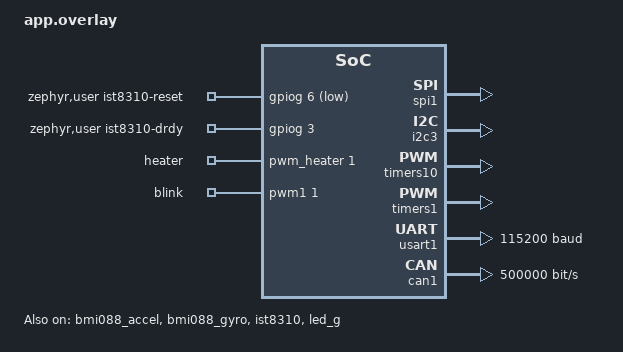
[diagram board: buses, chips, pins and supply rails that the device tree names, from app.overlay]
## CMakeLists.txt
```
cmake_minimum_required(VERSION 3.20.0)

# Add this repository root as a custom board/devicetree root.
list(APPEND BOARD_ROOT ${CMAKE_CURRENT_SOURCE_DIR})
list(APPEND DTS_ROOT ${CMAKE_CURRENT_SOURCE_DIR})

find_package(Zephyr REQUIRED HINTS $ENV{ZEPHYR_BASE})
project(RM_C_Template)

set(APP_SOURCES
    src/main.c
    src/drivers/imu/imu_board_init.c
    src/drivers/imu/imu_9axis.c
    src/board_package/unit_tests/uart_test.c
    src/board_package/unit_tests/pwm_led_test.c
    src/board_package/unit_tests/can_loopback_test.c
    src/board_package/unit_tests/bmi088_test.c
    src/board_package/unit_tests/ist8310_test.c
    src/board_package/unit_tests/imu_temperature_test.c
    src/board_package/unit_tests/imu_justfloat_test.c
)

target_sources(app PRIVATE ${APP_SOURCES})

target_include_directories(app PRIVATE include)

target_compile_options(app PRIVATE
    -Wall
    -Wextra
)

if(CONFIG_DEBUG)
    target_compile_definitions(app PRIVATE DEBUG_MODE=1)
endif()
```

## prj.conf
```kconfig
# ============================================================================
# Zephyr功能配置
# ============================================================================

# 基础系统配置
CONFIG_CONSOLE=y
CONFIG_SYS_CLOCK_TICKS_PER_SEC=1000
CONFIG_MAIN_STACK_SIZE=2048
CONFIG_IDLE_STACK_SIZE=512

# 驱动配置
CONFIG_GPIO=y
CONFIG_I2C=y
CONFIG_SPI=y
CONFIG_PWM=y
CONFIG_CAN=y
CONFIG_SERIAL=y

# 控制台：SEGGER RTT（RTT 作为主 console，UART 驱动仍正常初始化供应用使用）
CONFIG_USE_SEGGER_RTT=y
CONFIG_RTT_CONSOLE=y
CONFIG_UART_INTERRUPT_DRIVEN=y

# 调试配置
CONFIG_ASSERT=y
CONFIG_STACK_SENTINEL=y
CONFIG_THREAD_MONITOR=y
CONFIG_THREAD_NAME=y

# ============================================================================
# 自定义功能配置
# ============================================================================

# 传感器子系统 + BMI088(bmi08x) + IST8310
CONFIG_SENSOR=y
CONFIG_SENSOR_ASYNC_API=y
CONFIG_BMI08X=y
CONFIG_BMI08X_ACCEL_TRIGGER_NONE=y
CONFIG_BMI08X_GYRO_TRIGGER_NONE=y
CONFIG_IST8310=y

# 日志（通过 RTT 回读传感器数据）
CONFIG_LOG=y
CONFIG_LOG_BACKEND_RTT=y
CONFIG_LOG_MODE_DEFERRED=y

# 浮点打印（sensor_value_to_double → %f）
CONFIG_CBPRINTF_FP_SUPPORT=y
CONFIG_FPU=y
```

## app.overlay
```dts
/*
 * Copyright (c) 2026 RoboMaster C-Type Zephyr Adaptation
 *
 * SPDX-License-Identifier: Apache-2.0
 *
 * 项目级 overlay：在板级 dts 节点默认 disabled 的基础上打开本项目实际用到的
 * 板载外设，并暴露应用层需要直接操作的 GPIO / PWM。
 */

#include <zephyr/dt-bindings/gpio/gpio.h>

/ {
	/*
	 * 应用层自管理的 GPIO / PWM：Zephyr 上游 isentek,ist8310 binding 不包含
	 * RSTN（硬复位）和 DRDY 管脚，BMI088 的恒温加热也需要独立 PWM 通道。
	 * 测试用 LED (led_g) 通过 alias 访问；闪烁 PWM 额外指向 PWM1 CH1，
	 * 采样点由应用直接写 period/pulse。
	 */
	zephyr,user {
		ist8310-reset-gpios = <&gpiog 6 GPIO_ACTIVE_LOW>;
		ist8310-drdy-gpios  = <&gpiog 3 GPIO_ACTIVE_HIGH>;
		pwms = <&pwm_heater 1 5000000 PWM_POLARITY_NORMAL>,
		       <&pwm1 1 1000000000 PWM_POLARITY_NORMAL>;
		pwm-names = "heater", "blink";
	};
};

/* ---------------- IMU ---------------- */
&spi1 {
	status = "okay";
};

&bmi088_accel {
	status = "okay";
};

&bmi088_gyro {
	status = "okay";
};

&i2c3 {
	status = "okay";
};

&ist8310 {
	status = "okay";
};

/* IMU 恒温加热 TIM10_CH1 => PF6，tick = 1 MHz, PWM 周期 5 ms (200 Hz) */
&timers10 {
	status = "okay";
	st,prescaler = <167>;

	pwm_heater: pwm {
		status = "okay";
	};
};

/* ---------------- 测试用外设 ---------------- */
/* LED_G: 测试线程用软件翻转（PH11 为纯 GPIO，不接 timer 通道） */
&led_g {
	status = "okay";
};

/* PWM1 (TIM1_CH1 @ PE9) 作为闪烁频率源，tick = 20 kHz → 最大 period ≈ 3.27 s */
&timers1 {
	status = "okay";
	st,prescaler = <8399>;

	pwm1: pwm {
		status = "okay";
	};
};

/* USART1 (丝印 UART2, PA9/PB7) 作为 justfloat 数据输出端口 */
&usart1 {
	status = "okay";
	current-speed = <115200>;
};

/* CAN1 回环测试：bitrate 500 kbit/s，采样点 87.5% */
&can1 {
	status = "okay";
	bitrate = <500000>;
	sample-point = <875>;
};
```

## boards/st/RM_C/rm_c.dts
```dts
/*
 * Copyright (c) 2026 RoboMaster C-Type Zephyr Adaptation
 *
 * SPDX-License-Identifier: Apache-2.0
 */

/dts-v1/;
#include <st/f4/stm32f407Xg.dtsi>
#include <st/f4/stm32f407i(e-g)hx-pinctrl.dtsi>
#include <zephyr/dt-bindings/input/input-event-codes.h>

/ {
	model = "RoboMaster Development Board Type C";
	compatible = "st,robomaster-c";

	chosen {
		/*
		 * 控制台与 shell 均走 SEGGER RTT (CONFIG_RTT_CONSOLE / CONFIG_SHELL_BACKEND_RTT)。
		 * RTT 不是 DT 节点，通过 Kconfig 选择即可，因此 chosen 中不再指向 usart1，
		 * usart1 (丝印 UART2, PA9/PB7) 被释放给应用层自由使用。
		 */
		zephyr,sram = &sram0;
		zephyr,flash = &flash0;
		zephyr,dtcm = &ccm0;
	};

	/* 3 路 RGB LED，共阳极 + N-MOSFET 拉地，高电平点亮 */
	leds: leds {
		compatible = "gpio-leds";

		led_r: led_r {
			gpios = <&gpioh 12 GPIO_ACTIVE_HIGH>;
			label = "LED_R";
			status = "disabled";
		};

		led_g: led_g {
			gpios = <&gpioh 11 GPIO_ACTIVE_HIGH>;
			label = "LED_G";
			status = "okay";
		};

		led_b: led_b {
			gpios = <&gpioh 10 GPIO_ACTIVE_HIGH>;
			label = "LED_B";
			status = "disabled";
		};
	};

	/* 板载用户按键，按下为低 */
	keys: gpio_keys {
		compatible = "gpio-keys";
		status = "disabled";

		user_button: button {
			label = "KEY";
			/* 板载已有外部偏置网络（VCC_BAT 分压 + 1K 下拉），
			 * 不使能 MCU 内部上拉，避免与外部电阻冲突造成电平漂移。
			 */
			gpios = <&gpioa 0 GPIO_ACTIVE_LOW>;
			zephyr,code = <INPUT_KEY_0>;
		};
	};

	aliases {
		led0 = &led_r;
		led1 = &led_g;
		led2 = &led_b;
		sw0 = &user_button;
		uart2 = &usart1;
		uart1 = &usart6;
	};
};

/* ------------------------- 时钟系统 ------------------------- */
/* HSE = 12 MHz 外部晶振, 目标 SYSCLK = 168 MHz
 * PLL: VCO_in = 12/12 = 1 MHz, VCO_out = 1*336 = 336 MHz
 *      SYSCLK = 336/2 = 168 MHz, USB/SDIO = 336/7 ≈ 48 MHz
 */
&clk_hse {
	clock-frequency = <DT_FREQ_M(12)>;
	status = "okay";
};

&pll {
	div-m = <12>;
	mul-n = <336>;
	div-p = <2>;
	div-q = <7>;
	clocks = <&clk_hse>;
	status = "okay";
};

&rcc {
	clocks = <&pll>;
	clock-frequency = <DT_FREQ_M(168)>;
	ahb-prescaler = <1>;
	apb1-prescaler = <4>;
	apb2-prescaler = <2>;
};

/* ------------------------- 串口 ------------------------- */
/* 丝印 UART2 = 芯片 USART1: PA9 TX / PB7 RX, 4-pin 接口
 * 控制台已切换到 SEGGER RTT，此 UART 释放给应用层自由使用；
 * 默认保持 disabled，由工程按需在项目级 overlay 中打开。
 */
&usart1 {
	pinctrl-0 = <&usart1_tx_pa9 &usart1_rx_pb7>;
	pinctrl-names = "default";
	current-speed = <115200>;
	status = "disabled";
};

/* 丝印 UART1 = 芯片 USART6: PG14 TX / PG9 RX, 3-pin 接口（常接裁判系统） */
&usart6 {
	pinctrl-0 = <&usart6_tx_pg14 &usart6_rx_pg9>;
	pinctrl-names = "default";
	current-speed = <115200>;
	status = "disabled";
};

/* ------------------------- CAN 总线 ------------------------- */
/* CAN1: PD1 TX / PD0 RX (2-pin 接口) */
&can1 {
	pinctrl-0 = <&can1_tx_pd1 &can1_rx_pd0>;
	pinctrl-names = "default";
	status = "disabled";
};

/* CAN2: PB6 TX / PB5 RX (4-pin 接口, 带 5V 供电) */
&can2 {
	pinctrl-0 = <&can2_tx_pb6 &can2_rx_pb5>;
	pinctrl-names = "default";
	status = "disabled";
};

/* ------------------------- PWM 输出 ------------------------- */
/* PWM1~4: TIM1_CH1~4 => PE9 / PE11 / PE13 / PE14 */
&timers1 {
	status = "disabled";

	pwm1: pwm {
		status = "disabled";
		pinctrl-0 = <&tim1_ch1_pe9 &tim1_ch2_pe11
			     &tim1_ch3_pe13 &tim1_ch4_pe14>;
		pinctrl-names = "default";
	};
};

/* PWM5~7: TIM8_CH1~3 => PC6 / PI6 / PI7 */
&timers8 {
	status = "disabled";

	pwm8: pwm {
		status = "disabled";
		pinctrl-0 = <&tim8_ch1_pc6 &tim8_ch2_pi6 &tim8_ch3_pi7>;
		pinctrl-names = "default";
	};
};

/* IMU 恒温加热: TIM10_CH1 => PF6 (高电平满功率 0.58W) */
&timers10 {
	status = "disabled";

	pwm_heater: pwm {
		status = "disabled";
		pinctrl-0 = <&tim10_ch1_pf6>;
		pinctrl-names = "default";
	};
};

/* ------------------------- 板载传感器 ------------------------- */
/* SPI1: SCK=PB3, MOSI=PA7, MISO=PB4 (BMI088 6-axis IMU)
 *   CS1_Accel (BMI088 accel)  = PA4, active low
 *   CS1_Gyro  (BMI088 gyro)   = PB0, active low
 *   INT1_Accel                = PC4 (data ready / motion)
 *   INT1_Gyro                 = PC5 (data ready)
 *   BMI088 datasheet allows up to 10 MHz SPI clock.
 *
 *   使用 Zephyr 上游 "bosch,bmi08x-accel" / "bosch,bmi08x-gyro" 驱动 (drivers/sensor/bosch/bmi08x)。
 *   accel-hz/accel-fs/gyro-hz/gyro-fs 为 binding required property，这里给出默认值，
 *   项目级 overlay 可按需 override。
 */
&spi1 {
	pinctrl-0 = <&spi1_sck_pb3 &spi1_mosi_pa7 &spi1_miso_pb4>;
	pinctrl-names = "default";
	cs-gpios = <&gpioa 4 GPIO_ACTIVE_LOW>,
		   <&gpiob 0 GPIO_ACTIVE_LOW>;
	status = "disabled";

	bmi088_accel: bmi088-accel@0 {
		compatible = "bosch,bmi08x-accel";
		reg = <0>;
		spi-max-frequency = <10000000>;
		int-gpios = <&gpioc 4 GPIO_ACTIVE_HIGH>;
		accel-hz = "800";
		accel-fs = <6>;
		/* INT1: DRDY 映射；push-pull + active-high + output-enable */
		int1-map-io = <0x01>;
		int1-conf-io = <0x0A>;
		/* INT2 未引出；置 0 以满足 driver 对属性的强制存在要求 */
		int2-map-io = <0x00>;
		int2-conf-io = <0x00>;
		status = "disabled";
	};

	bmi088_gyro: bmi088-gyro@1 {
		compatible = "bosch,bmi08x-gyro";
		reg = <1>;
		spi-max-frequency = <10000000>;
		int-gpios = <&gpioc 5 GPIO_ACTIVE_HIGH>;
		gyro-hz = "1000_116";
		gyro-fs = <2000>;
		/* INT3 数据就绪中断, push-pull, active-high */
		int3-4-map-io = <0x01>;
		int3-4-conf-io = <0x01>;
		status = "disabled";
	};
};

/* I2C3: SCL=PA8, SDA=PC9 (IST8310 磁力计)
 *   Fast-mode 400kHz; 默认 I2C 地址 0x0E (CAD0/CAD1 硬连接)。
 *   使用 Zephyr 上游 "isentek,ist8310" 驱动 (drivers/sensor/ist8310)，
 *   其不管理 RSTN/DRDY 引脚；应用层通过 zephyr,user 暴露的 GPIO 自行完成复位序列。
 */
&i2c3 {
	pinctrl-0 = <&i2c3_scl_pa8 &i2c3_sda_pc9>;
	pinctrl-names = "default";
	clock-frequency = <I2C_BITRATE_FAST>;
	status = "disabled";

	ist8310: ist8310@e {
		compatible = "isentek,ist8310";
		reg = <0x0e>;
		status = "disabled";
	};
};
```

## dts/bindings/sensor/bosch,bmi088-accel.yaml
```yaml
# Copyright (c) 2026 RoboMaster C-Type Zephyr Adaptation
# SPDX-License-Identifier: Apache-2.0

description: |
    Bosch BMI088 6-axis IMU - accelerometer half.

    The BMI088 exposes the accelerometer and gyroscope as two independent SPI
    slave devices, each with its own chip select line and optional data-ready
    interrupt line. This binding describes the accelerometer half.

    Example (RoboMaster C-Type board):

        &spi1 {
            bmi088_accel: bmi088-accel@0 {
                compatible = "bosch,bmi088-accel";
                reg = <0>;
                spi-max-frequency = <10000000>;
                int-gpios = <&gpioc 4 GPIO_ACTIVE_HIGH>;
            };
        };

compatible: "bosch,bmi088-accel"

include: [spi-device.yaml, sensor-device.yaml]

properties:
  int-gpios:
    type: phandle-array
    description: |
        INT1 interrupt pin from the accelerometer. Active level and edge are
        configured by the driver at runtime; pass GPIO_ACTIVE_HIGH here and
        let the driver program BMI088 INT1 as push-pull / active-high if
        required.

  reset-gpios:
    type: phandle-array
    description: |
        Optional hardware reset pin for the accelerometer. BMI088 does not
        expose a shared reset line on the RoboMaster C-Type board, so this
        property is normally omitted; it is kept available for future
        hardware variants that tie the reset line to a GPIO.
```

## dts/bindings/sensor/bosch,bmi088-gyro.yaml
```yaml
# Copyright (c) 2026 RoboMaster C-Type Zephyr Adaptation
# SPDX-License-Identifier: Apache-2.0

description: |
    Bosch BMI088 6-axis IMU - gyroscope half.

    The BMI088 exposes the accelerometer and gyroscope as two independent SPI
    slave devices, each with its own chip select line and optional data-ready
    interrupt line. This binding describes the gyroscope half.

    Example (RoboMaster C-Type board):

        &spi1 {
            bmi088_gyro: bmi088-gyro@1 {
                compatible = "bosch,bmi088-gyro";
                reg = <1>;
                spi-max-frequency = <10000000>;
                int-gpios = <&gpioc 5 GPIO_ACTIVE_HIGH>;
            };
        };

compatible: "bosch,bmi088-gyro"

include: [spi-device.yaml, sensor-device.yaml]

properties:
  int-gpios:
    type: phandle-array
    description: |
        INT3 interrupt pin from the gyroscope. Active level and edge are
        configured by the driver at runtime.

  reset-gpios:
    type: phandle-array
    description: |
        Optional hardware reset pin for the gyroscope. BMI088 does not expose
        a shared reset line on the RoboMaster C-Type board, so this property
        is normally omitted.
```

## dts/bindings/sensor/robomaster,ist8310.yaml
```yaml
# Copyright (c) 2026 RoboMaster C-Type Zephyr Adaptation
# SPDX-License-Identifier: Apache-2.0

description: |
    iSentek IST8310 3-axis geomagnetic sensor - board-local binding.

    The Zephyr tree ships an upstream binding "isentek,ist8310" which only
    exposes the I2C slave. The RoboMaster C-Type board additionally wires
    RSTN (hardware reset) and DRDY (data-ready interrupt) to GPIOs, and the
    project ships a third-party driver that uses both lines.

    Because two yaml files cannot share the same "compatible + on-bus" pair,
    the board-local compatible is namespaced with the "robomaster" vendor
    prefix. The out-of-tree driver must match on this string.

    Default I2C address on the RoboMaster C-Type board is 0x0E (set by the
    CAD0/CAD1 pin strap).

    Example:

        &i2c3 {
            ist8310: ist8310@e {
                compatible = "robomaster,ist8310";
                reg = <0x0e>;
                reset-gpios = <&gpiog 6 GPIO_ACTIVE_LOW>;
                drdy-gpios  = <&gpiog 3 GPIO_ACTIVE_HIGH>;
            };
        };

compatible: "robomaster,ist8310"

include: [i2c-device.yaml, sensor-device.yaml]

properties:
  reset-gpios:
    type: phandle-array
    description: |
        Hardware reset (RSTN) line. Active low per the IST8310 datasheet;
        pass GPIO_ACTIVE_LOW. On the RoboMaster C-Type board this is PG6.

  drdy-gpios:
    type: phandle-array
    description: |
        Data-ready (DRDY) interrupt line. Active high per the IST8310
        datasheet; pass GPIO_ACTIVE_HIGH. On the RoboMaster C-Type board
        this is PG3.
```

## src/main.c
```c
/*
 * Copyright (c) 2026 RoboMaster C-Type Zephyr Adaptation
 *
 * SPDX-License-Identifier: Apache-2.0
 */

#include <zephyr/kernel.h>
#include <zephyr/logging/log.h>

int main(void)
{
    
	return 0;
}
```

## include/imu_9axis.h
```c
/*
 * Copyright (c) 2026 RoboMaster C-Type Zephyr Adaptation
 *
 * SPDX-License-Identifier: Apache-2.0
 */

#ifndef APP_IMU_9AXIS_H_
#define APP_IMU_9AXIS_H_

#include <stdint.h>
#include <zephyr/device.h>
#include <zephyr/drivers/sensor.h>

#ifdef __cplusplus
extern "C" {
#endif

/**
 * @file
 * @brief 九轴 IMU 聚合与姿态接口（BMI088 + IST8310）
 *
 * 该层直接使用 Zephyr 上游 sensor API（bosch,bmi08x-accel/gyro、isentek,ist8310），
 * 在单独 IMU 目录下完成：
 *   1. 读取 accel / gyro / mag / die-temp 原始物理量；
 *   2. 管理 IST8310 单次采样重试与加热 PWM；
 *   3. 基于 accel + gyro + mag 做轻量姿态融合，输出 roll / pitch / yaw。
 *
 * 当前输出姿态仍处于“工程可验证”阶段，优先目标是保证链路闭环和数值连续，
 * 而不是追求最终控制精度。
 */

/** 九轴采样帧。单位严格遵循 Zephyr sensor API：
 *  - accel: m/s^2      (SENSOR_CHAN_ACCEL_XYZ)
 *  - gyro : rad/s      (SENSOR_CHAN_GYRO_XYZ)
 *  - mag  : Gauss      (SENSOR_CHAN_MAGN_XYZ, IST8310 驱动内部按灵敏度换算)
 *  - temp : 摄氏度     (SENSOR_CHAN_DIE_TEMP, 来自 BMI088 accel die-temp)
 */
enum {
	IMU_EULER_ROLL = 0,
	IMU_EULER_PITCH = 1,
	IMU_EULER_YAW = 2,
};

typedef struct {
	float accel[3];
	float gyro[3];
	float mag[3];
	float euler[3];         /* rad: [roll, pitch, yaw] */
	float temp_c;
	uint64_t timestamp_ns; /* k_uptime_ticks() 对应的单调时间戳 */
} imu_9axis_sample_t;

/**
 * @brief 初始化九轴 IMU 子系统。
 *
 * 流程：
 *   - 等待 bmi088-accel / bmi088-gyro / ist8310 三个设备 ready；
 *   - 预热一次 IST8310 采样链路（硬复位由更早的 board init 阶段完成）；
 *   - 以 @p heater_duty_percent 启动恒温加热 PWM（0 表示关闭，100 为满功率 0.58W）；
 *   - 清零融合状态，等待首帧建立姿态基准。
 *
 * @param heater_duty_percent 加热 PWM 占空比百分比，0~100，超过 100 按 100 处理。
 * @retval 0          全部子设备就绪；
 * @retval -ENODEV    任一子设备未 ready；
 * @retval -EIO       RSTN GPIO 或加热 PWM 配置失败；
 * @retval 其它负值   直接来自底层驱动。
 */
int imu_9axis_init(uint8_t heater_duty_percent);

/**
 * @brief 采样一次 9 轴数据。
 *
 * 内部对 accel / gyro / mag 各调用一次 sensor_sample_fetch()+channel_get()，
 * 然后执行一次轻量姿态融合，将 roll / pitch / yaw 写入 `out->euler[]`。
 * 任一子设备失败则整体失败并保留 @p out 内容不变。
 *
 * @param[out] out 输出采样帧，不可为 NULL。
 * @retval 0       成功；
 * @retval -EINVAL out 为 NULL；
 * @retval 其它    来自底层驱动的错误码。
 */
int imu_9axis_sample(imu_9axis_sample_t *out);

/**
 * @brief 动态调整加热占空比。
 *
 * 用于后续接入温控闭环（目前上层以恒定占空比运行）。
 *
 * @param duty_percent 0~100；越界按就近钳位。
 * @retval 0 成功；其它为底层 pwm_set() 错误码。
 */
int imu_9axis_set_heater_duty(uint8_t duty_percent);

#ifdef __cplusplus
}
#endif

#endif /* APP_IMU_9AXIS_H_ */
```

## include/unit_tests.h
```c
/*
 * Copyright (c) 2026 RoboMaster C-Type Zephyr Adaptation
 *
 * SPDX-License-Identifier: Apache-2.0
 */

#ifndef APP_UNIT_TESTS_H_
#define APP_UNIT_TESTS_H_

#ifdef __cplusplus
extern "C" {
#endif

/* Minimal test entry points. */
int test_uart_start(void);
int test_pwm_led_start(void);
int test_can_loopback_start(void);
int test_bmi088_start(void);
int test_ist8310_start(void);
int test_imu_temp_start(void);
int test_imu_justfloat_start(void);

#ifdef __cplusplus
}
#endif

#endif /* APP_UNIT_TESTS_H_ */
```

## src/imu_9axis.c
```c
/*
 * Copyright (c) 2026 RoboMaster C-Type Zephyr Adaptation
 *
 * SPDX-License-Identifier: Apache-2.0
 */

#include "imu_9axis.h"

#include <zephyr/kernel.h>
#include <zephyr/device.h>
#include <zephyr/drivers/pwm.h>
#include <zephyr/drivers/sensor.h>
#include <zephyr/logging/log.h>

LOG_MODULE_REGISTER(imu_9axis, CONFIG_SENSOR_LOG_LEVEL);

#define ZEPHYR_USER_NODE  DT_PATH(zephyr_user)
#define IST8310_FETCH_RETRIES  5
#define IST8310_FETCH_DELAY_MS 2

static const struct device *const bmi_accel = DEVICE_DT_GET(DT_NODELABEL(bmi088_accel));
static const struct device *const bmi_gyro  = DEVICE_DT_GET(DT_NODELABEL(bmi088_gyro));
static const struct device *const ist_mag   = DEVICE_DT_GET(DT_NODELABEL(ist8310));

static const struct pwm_dt_spec heater_pwm =
	PWM_DT_SPEC_GET_BY_NAME(ZEPHYR_USER_NODE, heater);

static uint8_t clamp_duty(uint8_t duty)
{
	return duty > 100U ? 100U : duty;
}

static int apply_heater_duty(uint8_t duty)
{
	uint32_t pulse = (uint64_t)heater_pwm.period * duty / 100U;

	return pwm_set_dt(&heater_pwm, heater_pwm.period, pulse);
}

static int fetch_xyz_once(const struct device *dev, enum sensor_channel chan, float out[3])
{
	struct sensor_value v[3];
	int rc;

	rc = sensor_sample_fetch(dev);
	if (rc < 0) {
		return rc;
	}
	rc = sensor_channel_get(dev, chan, v);
	if (rc < 0) {
		return rc;
	}
	out[0] = (float)sensor_value_to_double(&v[0]);
	out[1] = (float)sensor_value_to_double(&v[1]);
	out[2] = (float)sensor_value_to_double(&v[2]);
	return 0;
}

static int fetch_xyz_retry(const struct device *dev, enum sensor_channel chan, float out[3],
			   uint8_t retries, uint32_t delay_ms)
{
	int rc = -EIO;

	for (uint8_t attempt = 0; attempt < retries; attempt++) {
		rc = fetch_xyz_once(dev, chan, out);
		if (rc == 0) {
			return 0;
		}

		if ((attempt + 1U) < retries) {
			k_msleep(delay_ms);
		}
	}

	return rc;
}

int imu_9axis_init(uint8_t heater_duty_percent)
{
	int rc;

	if (!device_is_ready(bmi_accel)) {
		LOG_ERR("bmi088-accel not ready");
		return -ENODEV;
	}
	if (!device_is_ready(bmi_gyro)) {
		LOG_ERR("bmi088-gyro not ready");
		return -ENODEV;
	}

	/* IST8310 上游驱动在 POST_KERNEL 时已完成 probe 和配置。
	 * 硬复位会清除配置，导致后续采样失败（上游驱动不会重新 probe）。
	 * 因此去掉硬复位，只依赖上游驱动的软复位。
	 * 如果后续需要硬复位，必须在硬复位后手动重新配置 IST8310 寄存器。
	 */
	if (!device_is_ready(ist_mag)) {
		LOG_ERR("ist8310 not ready");
		return -ENODEV;
	}

	/* IST8310 上游驱动工作在 single-shot 模式。
	 * 第一次 sample_fetch() 可能只是在触发下一次转换，因此做有限重试，
	 * 但不把预热失败视为初始化失败。
	 */
	float dummy[3];

	rc = fetch_xyz_retry(ist_mag, SENSOR_CHAN_MAGN_XYZ, dummy,
			     IST8310_FETCH_RETRIES, IST8310_FETCH_DELAY_MS);
	if (rc < 0) {
		LOG_WRN("ist8310 first sample not ready yet: %d", rc);
	}

	if (!pwm_is_ready_dt(&heater_pwm)) {
		LOG_ERR("heater PWM not ready");
		return -EIO;
	}
	rc = apply_heater_duty(clamp_duty(heater_duty_percent));
	if (rc < 0) {
		LOG_ERR("heater PWM set failed: %d", rc);
		return rc;
	}

	LOG_INF("IMU 9-axis ready (heater duty = %u%%)", clamp_duty(heater_duty_percent));
	return 0;
}

int imu_9axis_set_heater_duty(uint8_t duty_percent)
{
	return apply_heater_duty(clamp_duty(duty_percent));
}

int imu_9axis_sample(imu_9axis_sample_t *out)
{
	struct sensor_value t;
	int rc;

	if (out == NULL) {
		return -EINVAL;
	}

	rc = fetch_xyz_once(bmi_accel, SENSOR_CHAN_ACCEL_XYZ, out->accel);
	if (rc < 0) {
		LOG_DBG("accel fetch failed: %d", rc);
		return rc;
	}
	/* die-temp 来自 accel，这里顺带取出；gyro 没有温度通道。*/
	if (sensor_channel_get(bmi_accel, SENSOR_CHAN_DIE_TEMP, &t) == 0) {
		out->temp_c = (float)sensor_value_to_double(&t);
	}

	rc = fetch_xyz_once(bmi_gyro, SENSOR_CHAN_GYRO_XYZ, out->gyro);
	if (rc < 0) {
		LOG_DBG("gyro fetch failed: %d", rc);
		return rc;
	}

	rc = fetch_xyz_retry(ist_mag, SENSOR_CHAN_MAGN_XYZ, out->mag,
			     IST8310_FETCH_RETRIES, IST8310_FETCH_DELAY_MS);
	if (rc < 0) {
		LOG_DBG("mag fetch failed: %d", rc);
		return rc;
	}

	out->timestamp_ns = k_ticks_to_ns_floor64(k_uptime_ticks());
	return 0;
}
```

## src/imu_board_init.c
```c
/*
 * Copyright (c) 2026 RoboMaster C-Type Zephyr Adaptation
 *
 * SPDX-License-Identifier: Apache-2.0
 */

#include <zephyr/device.h>
#include <zephyr/devicetree.h>
#include <zephyr/drivers/gpio.h>
#include <zephyr/init.h>
#include <zephyr/kernel.h>
#include <zephyr/logging/log.h>

LOG_MODULE_REGISTER(imu_board_init, CONFIG_SENSOR_LOG_LEVEL);

#define ZEPHYR_USER_NODE DT_PATH(zephyr_user)
/* 必须早于 sensor driver 的 POST_KERNEL init。 */
#define RM_C_IMU_INIT_PRIORITY 80

static const struct gpio_dt_spec ist_reset =
	GPIO_DT_SPEC_GET(ZEPHYR_USER_NODE, ist8310_reset_gpios);

static int rm_c_imu_board_init(void)
{
	int rc;

	if (!gpio_is_ready_dt(&ist_reset)) {
		LOG_ERR("IST8310 RSTN GPIO not ready");
		return -ENODEV;
	}

	rc = gpio_pin_configure_dt(&ist_reset, GPIO_OUTPUT_ACTIVE);
	if (rc < 0) {
		LOG_ERR("failed to drive IST8310 reset low: %d", rc);
		return rc;
	}

	k_msleep(50);

	rc = gpio_pin_set_dt(&ist_reset, 0);
	if (rc < 0) {
		LOG_ERR("failed to release IST8310 reset: %d", rc);
		return rc;
	}

	k_msleep(50);
	LOG_INF("IST8310 hardware reset completed before sensor init");
	return 0;
}

SYS_INIT(rm_c_imu_board_init, POST_KERNEL, RM_C_IMU_INIT_PRIORITY);
```

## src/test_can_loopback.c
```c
/*
 * Copyright (c) 2026 RoboMaster C-Type Zephyr Adaptation
 *
 * SPDX-License-Identifier: Apache-2.0
 *
 * CAN1 硬件回环测试：
 *   · 将 CAN1 置入 LOOPBACK 模式；
 *   · 独立线程周期（500 ms）发送一个 0x123 ID 的 8 字节帧；
 *   · 通过 CAN filter 接收该帧，校验 payload 单调递增计数；
 *   · 结果经 LOG 输出。
 *
 * 硬件引脚：CAN1 TX=PD1 / RX=PD0（板级 dts 已定义 pinctrl）。
 * overlay 中将 can1 置 okay、bitrate=500 kbit/s。
 */

#include "unit_tests.h"

#include <zephyr/kernel.h>
#include <zephyr/device.h>
#include <zephyr/drivers/can.h>
#include <zephyr/logging/log.h>

LOG_MODULE_REGISTER(test_can, LOG_LEVEL_INF);

#define CAN_NODE        DT_NODELABEL(can1)
#define TEST_CAN_ID     0x123U
#define TX_PERIOD_MS    500

static const struct device *const can_dev = DEVICE_DT_GET(CAN_NODE);

K_THREAD_STACK_DEFINE(can_tx_stack, 1024);
static struct k_thread can_tx_thread_data;
static bool started;

CAN_MSGQ_DEFINE(rx_msgq, 4);

static void can_test_thread(void *a, void *b, void *c)
{
	ARG_UNUSED(a);
	ARG_UNUSED(b);
	ARG_UNUSED(c);

	struct can_frame tx_frame = {
		.flags = 0,
		.id = TEST_CAN_ID,
		.dlc = 8,
	};
	struct can_frame rx_frame;
	uint32_t tx_count = 0;
	uint32_t rx_ok = 0;
	uint32_t rx_mismatch = 0;

	while (1) {
		for (int i = 0; i < 8; i++) {
			tx_frame.data[i] = (uint8_t)(tx_count + i);
		}

		int rc = can_send(can_dev, &tx_frame, K_MSEC(100), NULL, NULL);
		if (rc < 0) {
			LOG_WRN("can_send failed: %d", rc);
		}

		if (k_msgq_get(&rx_msgq, &rx_frame, K_MSEC(200)) == 0) {
			bool ok = (rx_frame.id == TEST_CAN_ID) && (rx_frame.dlc == 8);
			for (int i = 0; ok && i < 8; i++) {
				ok = rx_frame.data[i] == (uint8_t)(tx_count + i);
			}
			if (ok) {
				rx_ok++;
			} else {
				rx_mismatch++;
				LOG_WRN("CAN payload mismatch (tx_count=%u)", tx_count);
			}
		} else {
			LOG_WRN("CAN rx timeout (tx_count=%u)", tx_count);
		}

		if ((tx_count % 4U) == 0U) {
			LOG_INF("CAN loopback: tx=%u rx_ok=%u mismatch=%u",
				tx_count + 1U, rx_ok, rx_mismatch);
		}

		tx_count++;
		k_msleep(TX_PERIOD_MS);
	}
}

int test_can_loopback_start(void)
{
	if (started) {
		return 0;
	}

	if (!device_is_ready(can_dev)) {
		LOG_ERR("CAN1 not ready");
		return -ENODEV;
	}

	int rc = can_set_mode(can_dev, CAN_MODE_LOOPBACK);
	if (rc < 0) {
		LOG_ERR("can_set_mode LOOPBACK failed: %d", rc);
		return rc;
	}

	rc = can_start(can_dev);
	if (rc < 0) {
		LOG_ERR("can_start failed: %d", rc);
		return rc;
	}

	const struct can_filter filter = {
		.id = TEST_CAN_ID,
		.mask = CAN_STD_ID_MASK,
		.flags = 0,
	};
	rc = can_add_rx_filter_msgq(can_dev, &rx_msgq, &filter);
	if (rc < 0) {
		LOG_ERR("can_add_rx_filter_msgq failed: %d", rc);
		return rc;
	}

	k_thread_create(&can_tx_thread_data, can_tx_stack,
			K_THREAD_STACK_SIZEOF(can_tx_stack),
			can_test_thread, NULL, NULL, NULL,
			5, 0, K_NO_WAIT);
	k_thread_name_set(&can_tx_thread_data, "test_can");

	started = true;
	LOG_INF("CAN1 loopback test started @ 500 kbit/s");
	return 0;
}
```

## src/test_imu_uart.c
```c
/*
 * Copyright (c) 2026 RoboMaster C-Type Zephyr Adaptation
 *
 * SPDX-License-Identifier: Apache-2.0
 *
 * IMU 欧拉角 → USART1 (丝印 UART2) JustFloat 输出：
 *
 *   JustFloat 帧格式（小端序）：
 *     [chan0 float LE][chan1 float LE]...[chanN-1 float LE][00 00 80 7F]
 *   其中末 4 字节为 NaN/Inf 样式帧尾，供上位机划分帧边界。
 *
 *   本测试发送 3 通道：
 *     ch0 = roll  (rad)
 *     ch1 = pitch (rad)
 *     ch2 = yaw   (rad)
 *
 *   欧拉角使用最简单的加速度+磁力计解算（未做陀螺融合，仅用于接口回环验证）：
 *     roll  = atan2(ay, az)
 *     pitch = atan2(-ax, sqrt(ay^2 + az^2))
 *     yaw   = atan2(-my * cos(roll) + mz * sin(roll),
 *                   mx * cos(pitch) + my * sin(pitch) * sin(roll) + mz * sin(pitch) * cos(roll))
 */

#include "unit_tests.h"
#include "imu_9axis.h"

#include <math.h>
#include <string.h>

#include <zephyr/kernel.h>
#include <zephyr/device.h>
#include <zephyr/drivers/uart.h>
#include <zephyr/logging/log.h>
#include <zephyr/sys/byteorder.h>

LOG_MODULE_REGISTER(test_imu_uart, LOG_LEVEL_INF);

#define UART_NODE       DT_NODELABEL(usart1)
#define SAMPLE_PERIOD_MS 20   /* 50 Hz 输出 */

static const struct device *const uart_dev = DEVICE_DT_GET(UART_NODE);

K_THREAD_STACK_DEFINE(imu_uart_stack, 1536);
static struct k_thread imu_uart_thread_data;
static bool started;

static const uint8_t justfloat_tail[4] = { 0x00, 0x00, 0x80, 0x7F };

static void uart_write_bytes(const uint8_t *buf, size_t len)
{
	for (size_t i = 0; i < len; i++) {
		uart_poll_out(uart_dev, buf[i]);
	}
}

static void send_justfloat(const float *channels, size_t n_channels)
{
	/* STM32 / Cortex-M 本身是 little-endian，float 按内存序写出即为 LE。
	 * 为了便于阅读意图保留显式小端处理，使用 sys_put_le32。
	 */
	for (size_t i = 0; i < n_channels; i++) {
		uint8_t bytes[4];
		uint32_t raw;

		memcpy(&raw, &channels[i], sizeof(raw));
		sys_put_le32(raw, bytes);
		uart_write_bytes(bytes, 4);
	}
	uart_write_bytes(justfloat_tail, sizeof(justfloat_tail));
}

static void compute_euler(const imu_9axis_sample_t *s,
			  float *roll, float *pitch, float *yaw)
{
	float ax = s->accel[0];
	float ay = s->accel[1];
	float az = s->accel[2];

	*roll  = atan2f(ay, az);
	*pitch = atan2f(-ax, sqrtf(ay * ay + az * az));

	float mx = s->mag[0];
	float my = s->mag[1];
	float mz = s->mag[2];

	float sr = sinf(*roll);
	float cr = cosf(*roll);
	float sp = sinf(*pitch);
	float cp = cosf(*pitch);

	float yh = -my * cr + mz * sr;
	float xh = mx * cp + my * sp * sr + mz * sp * cr;
	*yaw = atan2f(yh, xh);
}

static void imu_uart_thread(void *a, void *b, void *c)
{
	ARG_UNUSED(a);
	ARG_UNUSED(b);
	ARG_UNUSED(c);

	imu_9axis_sample_t s;
	uint32_t fail_count = 0;
	uint32_t ok_count = 0;

	while (1) {
		int rc = imu_9axis_sample(&s);
		if (rc == 0) {
			float roll, pitch, yaw;

			compute_euler(&s, &roll, &pitch, &yaw);
			float chans[3] = { roll, pitch, yaw };

			send_justfloat(chans, ARRAY_SIZE(chans));
			ok_count++;
			if ((ok_count % 200U) == 0U) {
				LOG_INF("justfloat ok=%u fail=%u last=(%.3f,%.3f,%.3f)",
					ok_count, fail_count,
					(double)roll, (double)pitch, (double)yaw);
			}
		} else {
			fail_count++;
		}

		k_msleep(SAMPLE_PERIOD_MS);
	}
}

int test_imu_uart_start(void)
{
	if (started) {
		return 0;
	}
	if (!device_is_ready(uart_dev)) {
		LOG_ERR("USART1 not ready");
		return -ENODEV;
	}

	k_thread_create(&imu_uart_thread_data, imu_uart_stack,
			K_THREAD_STACK_SIZEOF(imu_uart_stack),
			imu_uart_thread, NULL, NULL, NULL,
			7, 0, K_NO_WAIT);
	k_thread_name_set(&imu_uart_thread_data, "test_imu_uart");

	started = true;
	LOG_INF("IMU→USART1 JustFloat test started @ %d ms", SAMPLE_PERIOD_MS);
	return 0;
}
```

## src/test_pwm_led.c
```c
/*
 * Copyright (c) 2026 RoboMaster C-Type Zephyr Adaptation
 *
 * SPDX-License-Identifier: Apache-2.0
 *
 * PWM1 + LED_G 测试线程：
 *   · PWM1 (TIM1_CH1 @ PE9) 以 1 Hz、占空比 50% 输出方波，可示波器验证；
 *   · 同频率翻转板载绿色 LED (PH11)，以肉眼指示线程在运行。
 *
 * PWM 周期可通过 test_pwm_led_set_period_ns() 动态更改。
 */

#include "unit_tests.h"

#include <zephyr/kernel.h>
#include <zephyr/device.h>
#include <zephyr/drivers/pwm.h>
#include <zephyr/drivers/gpio.h>
#include <zephyr/logging/log.h>

LOG_MODULE_REGISTER(test_pwm_led, LOG_LEVEL_INF);

#define ZEPHYR_USER_NODE   DT_PATH(zephyr_user)
#define LED_G_NODE         DT_NODELABEL(led_g)

static const struct pwm_dt_spec blink_pwm =
	PWM_DT_SPEC_GET_BY_NAME(ZEPHYR_USER_NODE, blink);
static const struct gpio_dt_spec led_g =
	GPIO_DT_SPEC_GET(LED_G_NODE, gpios);

K_THREAD_STACK_DEFINE(pwm_led_stack, 768);
static struct k_thread pwm_led_thread_data;
static bool started;

static atomic_t period_ns_atomic = ATOMIC_INIT(1000000000); /* 1 Hz 默认 */

static void pwm_led_thread(void *a, void *b, void *c)
{
	ARG_UNUSED(a);
	ARG_UNUSED(b);
	ARG_UNUSED(c);

	bool on = false;

	while (1) {
		uint32_t period_ns = (uint32_t)atomic_get(&period_ns_atomic);
		uint32_t pulse_ns  = period_ns / 2U;

		int rc = pwm_set_dt(&blink_pwm, period_ns, pulse_ns);
		if (rc < 0) {
			LOG_WRN("pwm_set_dt failed: %d (period=%u ns)", rc, period_ns);
		}

		on = !on;
		gpio_pin_set_dt(&led_g, on ? 1 : 0);

		/* LED 翻转一次 = PWM 半周期；两次翻转对应 PWM 一个完整周期。 */
		k_usleep(period_ns / 2000U);
	}
}

int test_pwm_led_start(void)
{
	if (started) {
		return 0;
	}

	if (!pwm_is_ready_dt(&blink_pwm)) {
		LOG_ERR("PWM1 (blink) not ready");
		return -ENODEV;
	}
	if (!gpio_is_ready_dt(&led_g)) {
		LOG_ERR("LED_G GPIO not ready");
		return -ENODEV;
	}

	int rc = gpio_pin_configure_dt(&led_g, GPIO_OUTPUT_INACTIVE);
	if (rc < 0) {
		LOG_ERR("LED_G configure failed: %d", rc);
		return rc;
	}

	k_thread_create(&pwm_led_thread_data, pwm_led_stack,
			K_THREAD_STACK_SIZEOF(pwm_led_stack),
			pwm_led_thread, NULL, NULL, NULL,
			6, 0, K_NO_WAIT);
	k_thread_name_set(&pwm_led_thread_data, "test_pwm_led");

	started = true;
	LOG_INF("PWM1 blink test started (1 Hz default, PE9 + LED_G)");
	return 0;
}
```
